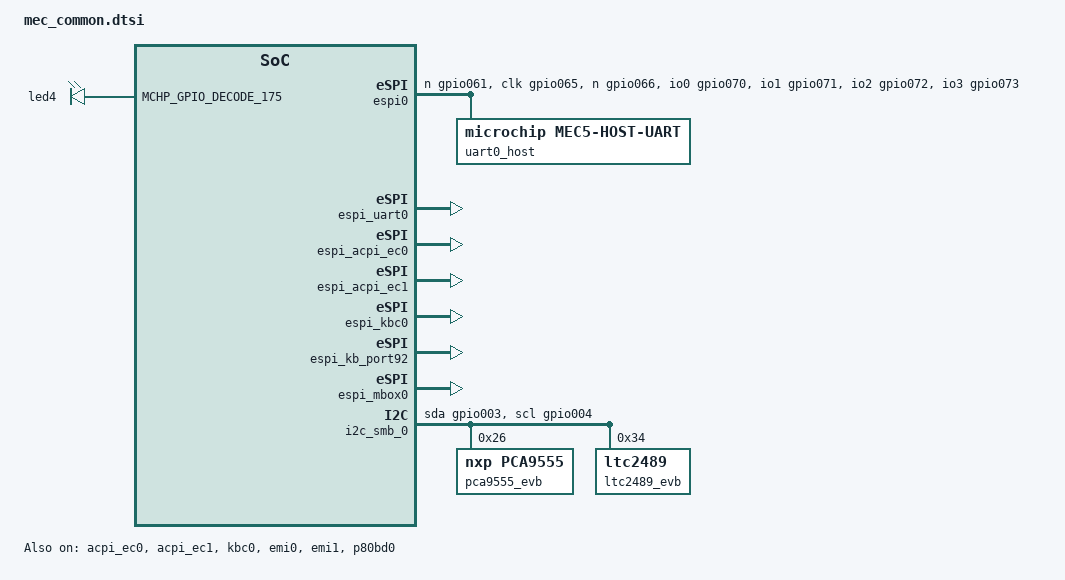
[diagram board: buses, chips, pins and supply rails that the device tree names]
/*
 * Copyright (c) 2024 Microchip Technology Inc.
 *
 * SPDX-License-Identifier: Apache-2.0
 */

#include <zephyr/dt-bindings/gpio/gpio.h>
#include <zephyr/dt-bindings/gpio/microchip-xec-gpio.h>
#include <zephyr/dt-bindings/espi/mchp-mec5-espi.h>

/* Sample runs MEC_ASSY6941 board with MEC174x or MEC175x CPU card installed.
 * -------------------------------------------
 * MEC5_ASSY6941 EVB with MEC1743Q-LJ CPU card
 * EVB power !! Selected one !!
 * Selected: Jumper on J1 5-6 selects +5V 2.1mm ID 5.5mm OD barrel connector from
 *  an external +5V power brick.
 * Jumper on J1 1-2 uses +5VCC_IN from edge connector Z1
 * Jumper on J1 3-4 uses VVD_+5V from variable voltage header J2-21
 * Jumper on J1 7-8 uses MCP2200_VBUS from MCP2200 using USB connector P2
 * Jumper on J1 9-10 uses USBPWR_FT4222 USB connector J62
 *
 * Configure VTR2 as 1.8V rail
 * JP32 2-3 +1.8V_STBY from 1.8V regulator
 * JP45 1-2 connect +1.8V_STBY to J68-3
 * JP68 3-4 connect +1.8V_STBY to JP62-1 and Q switch Q16
 * JP62 1-2 connect +1.8V_STBY to VTR2 bypassing Q switch
 * JP65 1-2 connects VTR2 to VCHIP_VTR2
 * NOTE: VTR3 is always 1.8V
 *
 * Use +3.3V and +1.8V generated by EVB regulators
 * JP231 1-2, JP33 2-3, JP31 2-3, JP32 2-3
 *
 * VTR1 voltage select +3.3V_STBY
 * JP43 1-2, JP159 1-2, JP58 1-2, JP60 1-2
 *
 * VTR2 voltage select +1.8V_STBY
 * JP45 1-2, J68 3-4, JP62 1-2, JP65 1-2
 *
 * VTR3 voltage select +1.8V_STBY
 * JP45 1-2, JP160 1-2, JP66 1-2, JP68 1-2
 *
 * Straps:
 * UART_BSTRAP: JP1
 * CR_STRAP: JP2
 * JTAG_STRAP: JP3
 * CMP_STRAP: JP4
 * PWRGD_STRAP: JP5
 * VTR2_STRAP: JP6
 * BSS_STRAP: JP7
 * BSS_STRAP: JP8 2-3
 * CRISIS_RECOVERY_STRAP: JP9
 *
 * Enable EVB eSPI voltage translators
 * JP110 1-2 U10 OE connected to VTR3 (enabled)
 * JP116 1-2 U12 and U13 nOE connected to VTR3 (disabled)
 *
 * The board acting as eSPI emulated host must have its QSPI
 * SHD_xxx pins on +1.8V. QSPI SHD pins are all on the VTR2 rail.
 * Connect QSPI pins from emulated Host board to this board:
 * SHD_nCS1 ->  ESPI_nCS J46-1  <-> U10 <-> ESPI_nRESET_R J52-19, JP114-1
 * SHD_CLK  ->  ESPI_CLK J46-3  <-> U10 <-> ESPI_CLK_R    J52-13
 * SHD_IO0  <-> ESPI_IO0 J46-5  <-> U10 <-> ESPI_IO0_R    J52-7
 * SHD_IO1  <-> ESPI_IO0 J46-7  <-> U10 <-> ESPI_IO1_R    J52-5
 * SHD_IO2  <-> ESPI_IO0 J46-9  <-> U10 <-> ESPI_IO2_R    J52-3
 * SHD_IO3  <-> ESPI_IO0 J46-11 <-> U10 <-> ESPI_IO3_R    J52-1
 *
 * Emulated eSPI Host uses a GPIO as ESPI_nRESET to Target
 * H2T_ESPI_nRESET -> ESPI_nRESET J46-15
 *
 * Emulated eSPI Host uses a GPIO as ESPI_nALERT to Target
 * H2T_ESPI_nALERT -> ESPI_nALERT J46-13
 *
 * Synchronization signals:
 * H2T_VCC_PWRGD -> VCC_PWRGD_ALT GPIO242 Func 3
 *
 * T2H_nREADY <- GPIO031(VTR1) output active low. Init to high
 *		J41-7
 *		JP75 21-22 100K pull-up. Do not install
 *		Pull-up enabled on eSPI Host Emulation board
 *
 * GPIO175/CMP_VOUT1/PWM8_ALT on schematic, LED4 on silkscreen.
 * JP19 16-17 connects GPIO175 as CMP_VOUT1
 *
 * I2C00_SDA/SCL = GPIO003/004 selection
 * Install Jumpers on JP15 4-5, JP15 7-8, JP27 31-32, JP27 34-35
 * If pull-ups on the EVB are required:
 * Install Jumper JP70 19-20 7.5K pull-up to VTR1 for I2C00_SCL
 * Install Jumper JP70 21-22 7.5K pull-up to VTR1 for I2C00_SDA
 *
 * I2C devices on EXTERNAL_SDA/SCL bus
 *
 * U4 is PCA9555 I2C GPIO expander
 * JP52 1-2 use +3.3V_STBY
 * JP61 1-2, 3-4 connects I2C00_SCL and I2C00_SDA to EXTERNAL_SCLK/SDATA
 * JP55 selects I2C address
 * 1-2 = A0, 3-4 = A1, 5-6 = A2 all pulled-up by default. Install jumper to ground signals.
 * Installed jumper on JP53 1-2. I2C Address = 0x26
 *
 * U18 is LTC2489CDE I2C 4-channel delta-sigma ADC
 * NOTE: LTC2489 is powered by +5V.
 * Address select pins CA0, CA1 both pulled high. Install jumpers to ground signals.
 * Installed jumpers on JP121 1-2 and 3-4. I2C Address = 0x34
 * VRef=3V J51 1-2
 * Channel 0 connected to Vin=2.048V JP120 1-2, J51 3-4
 */

/ {
	chosen {
		espi,os-acpi = &acpi_ec0;
		espi,host-cmd-acpi = &acpi_ec1;
		espi,host-mailbox = &mbox0;
		espi,host-shm = &emi0;
		espi,host-em8042 = &kbc0;
		espi,host-uart = &uart0;
		espi,host-io-capture = &p80bd0;
	};

	aliases {
		spi0 = &qspi0;
		led0 = &led4;
		i2c0 = &i2c_smb_0;
		i2c-0 = &i2c_smb_0;
	};

	leds {
		compatible = "gpio-leds";
		led4: led_0 {
			gpios = <MCHP_GPIO_DECODE_175 GPIO_ACTIVE_HIGH>;
		};
	};

	/* zephyr,user is a special case node for application & test use
	 * This node does not require a YAML binding file.
	 * espi-gpio pins
	 * index 0 = Target nREADY output to Host eSPI emulator
	 * index 1 = VCC_PWRGD_ALT drivent by external eSPI Emulated Host board
	 * In application code use GPIO_DT_SPEC_GET_BY_IDX() macro.
	 */
	zephyr,user {
		espi-gpios = <MCHP_GPIO_DECODE_031 GPIO_ACTIVE_HIGH>,
			     <MCHP_GPIO_DECODE_242 0>;
		pinctrl-0 = <&vcc_pwrgd_alt_gpio242 &pwrok_gpio106>;
		pinctrl-names = "default";
	};
};

&i2c00_scl_gpio004 {
	drive-open-drain;
	output-enable;
	output-high;
	drive-strength = "4x";
};

&i2c00_sda_gpio003 {
	drive-open-drain;
	output-enable;
	output-high;
	drive-strength = "4x";
};

/* ---- eSPI and peripheral channel devices ---- */

&espi0 {
	status = "okay";
	pinctrl-0 = < &espi_reset_n_gpio061
		      &espi_clk_gpio065 &espi_cs_n_gpio066
		      &espi_io0_gpio070 &espi_io1_gpio071
		      &espi_io2_gpio072 &espi_io3_gpio073 >;
	pinctrl-names = "default";
	host-memmap-addr-high = <0x10>; /* bits[47:32] of Host address for memory mapped LDNs */
	sram-bar-addr-high = <0x20>; /* bits[47:32] of Host address for SRAM BARs */

	/* We create a node here for the UART we will expose to the Host
	 * Doing this makes sure this node is a child of espi0 required
	 * by espi0's driver.
	 */
	uart0_host: uart0_host {
		compatible = "microchip,mec5-host-uart";
		pinctrl-0 = < &uart0_tx_gpio104 &uart0_rx_gpio105 >;
		pinctrl-names = "default";
		hwdev = <&uart0>;
		host-infos = <&espi_uart0>;
		status = "okay";
	};
};

/* Map UART0 to Host I/O address space */
&espi_uart0 {
	host-address = <0x3f8>;
	sirqs = <4>;
	status = "okay";
};

/* Enable eSPI SRAM BAR0 to map a 256 byte region of EC SRAM to Host
 * address space with read-only access.
 * ISSUE: region-base, shouldn't this be the address of an application buffer?
 */
&espi_sram_bar0 {
	host-address-lsw = <0x20000000>;
	region-base = <0x118000>;
	region-size = "256B";
	access = "READ_ONLY";
	status = "okay";
};

/* Enable eSPI SRAM BAR1 to map a 256 byte region of EC SRAM to Host
 * address space with write-only access.
 */
&espi_sram_bar1 {
	host-address-lsw = <0x20001000>;
	region-base = <0x118100>;
	region-size = "256B";
	access = "WRITE_ONLY";
	status = "okay";
};

/* eSPI Host OS ACPI_EC device */
&acpi_ec0 {
	compatible = "microchip,mec5-acpi-ec-os";
	host-infos = <&espi_acpi_ec0>;
	status = "okay";
};

&espi_acpi_ec0 {
	host-address = <0x62>;
	sirqs = <5>;
	sirq-names = "ec_obf";
	status = "okay";
};

/* eSPI Host command ACPI_EC device */
&acpi_ec1 {
	compatible = "microchip,mec5-acpi-ec-hcmd";
	host-infos = <&espi_acpi_ec1>;
	status = "okay";
};

&espi_acpi_ec1 {
	host-address = <0x200>;
	sirqs = <0xff>;
	sirq-names = "ec_obf";
	status = "okay";
};

/* Use eSPI Host KBC driver and map KBC0 and KB Port92h to Host I/O space */
&kbc0 {
	compatible = "microchip,mec5-kbc";
	host-infos = <&espi_kbc0 &espi_kb_port92>;
	status = "okay";
};

&espi_kbc0 {
	host-address = <0x60>;
	sirqs = <1 12>;
	sirq-names = "kirq", "mirq";
	status = "okay";
};

&espi_kb_port92 {
	host-address = <0x92>;
	status = "okay";
};

/* Use eSPI Mailbox driver and map mailbox to Host I/O space */
&mbox0 {
	compatible="microchip,mec5-mailbox";
	host-infos = <&espi_mbox0>;
	status = "okay";
};

&espi_mbox0 {
	host-address = <0x300>;
	sirqs = <0xff 0xff>;
	status = "okay";
};

/* Map EMI0 to Host memory address space. */
&emi0 {
	compatible = "microchip,mec5-shm-emi";
	host-infos = <&espi_emi0>;
	status = "okay";
};

&espi_emi0 {
	host-address = <0x10000000>;
	host-mem-space;
};

/* Map EMI1 to Host memory address space */
&emi1 {
	compatible = "microchip,mec5-shm-emi";
	host-infos = <&espi_emi1>;
	status = "okay";
};

&espi_emi1 {
	host-address = <0x10001000>;
	host-mem-space;
};

/* eSPI Host I/O capture device. Map 4-byte Host I/O capture range and
 * optional 1-byte I/O alias.
 */
&p80bd0 {
	compatible = "microchip,mec5-bdp";
	host-infos = <&espi_bdp0 &espi_bdpa0>;
	status = "okay";
};

&espi_bdp0 {
	host-address = <0x80>;
};

&espi_bdpa0 {
	host-address = <0x90>;
	bdp-host-alias-byte-lane = <1>;
};

&i2c_smb_0 {
	status = "okay";
	port_sel = < 0 >;
	sda-gpios = < MCHP_GPIO_DECODE_003 0 >;
	scl-gpios = < MCHP_GPIO_DECODE_004 0 >;
	pinctrl-0 = < &i2c00_sda_gpio003 &i2c00_scl_gpio004 >;
	pinctrl-names = "default";

	pca9555_evb: pca9555@26 {
		compatible = "nxp,pca9555";
		reg = <0x26>;
		gpio-controller;
		#gpio-cells = <2>;
	};

	ltc2489_evb: ltc2489@34 {
		/* No Zephyr driver exists */
		reg = <0x34>;
		#io-channels-cells = <1>;
	};
};
